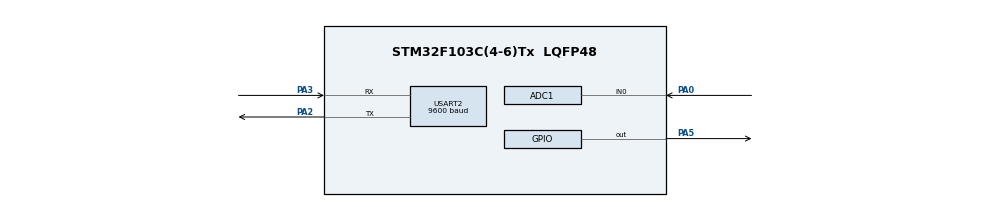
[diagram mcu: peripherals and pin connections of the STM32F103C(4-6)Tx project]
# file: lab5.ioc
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ADC1.Channel-0\#ChannelRegularConversion=ADC_CHANNEL_0
ADC1.ContinuousConvMode=ENABLE
ADC1.NbrOfConversionFlag=1
ADC1.Rank-0\#ChannelRegularConversion=1
ADC1.SamplingTime-0\#ChannelRegularConversion=ADC_SAMPLETIME_1CYCLE_5
ADC1.master=1
Mcu.Family=STM32F1
Mcu.Name=STM32F103C(4-6)Tx
Mcu.Package=LQFP48
NVIC.PriorityGroup=NVIC_PRIORITYGROUP_4
NVIC.TIM2_IRQn=true\:0\:0\:false\:false\:true\:true\:true\:true
NVIC.USART2_IRQn=true\:0\:0\:false\:false\:true\:true\:true\:true
PA0-WKUP.Signal=ADCx_IN0
PA2.Mode=Asynchronous
PA2.Signal=USART2_TX
PA3.Mode=Asynchronous
PA3.Signal=USART2_RX
PA5.Signal=GPIO_Output
ProjectManager.HeapSize=0x200
ProjectManager.StackSize=0x400
ProjectManager.TargetToolchain=STM32CubeIDE
RCC.APB1Freq_Value=8000000
RCC.APB2Freq_Value=8000000
SH.ADCx_IN0.0=ADC1_IN0,IN0
TIM2.Period=9
TIM2.Prescaler=7999
USART2.BaudRate=9600
USART2.VirtualMode=VM_ASYNC
VP_TIM2_VS_ClockSourceINT.Mode=Internal
board=custom

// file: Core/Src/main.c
/* USER CODE BEGIN Header */
/**
 ******************************************************************************
 * @file           : main.c
 * @brief          : Main program body
 ******************************************************************************
 * @attention
 *
 * Copyright (c) 2022 STMicroelectronics.
 * All rights reserved.
 *
 * This software is licensed under terms that can be found in the LICENSE file
 * in the root directory of this software component.
 * If no LICENSE file comes with this software, it is provided AS-IS.
 *
 ******************************************************************************
 */
/* USER CODE END Header */
#include "main.h"

/* USER CODE BEGIN Includes */
#include "timer.h"
#include "command_parser.h"
#include "sensor_reading.h"
#include "string.h"
#include "stdio.h"
#include "stdlib.h"
/* USER CODE END Includes */

ADC_HandleTypeDef hadc1;

TIM_HandleTypeDef htim2;

UART_HandleTypeDef huart2;

void SystemClock_Config(void);
static void MX_GPIO_Init(void);
static void MX_ADC1_Init(void);
static void MX_USART2_UART_Init(void);
static void MX_TIM2_Init(void);

/* USER CODE BEGIN 0 */
void HAL_UART_RxCpltCallback(UART_HandleTypeDef *huart) {
	if (huart->Instance == USART2) {
		HAL_UART_Transmit(&huart2, &temp, 1, 50);
		buffer[index_buffer++] = temp;
		if (index_buffer == 30)
			index_buffer = 0;
		buffer_flag = 1;
		HAL_UART_Receive_IT(&huart2, &temp, 1);
	}
}
/* USER CODE END 0 */

int main(void) {

	/* MCU Configuration--------------------------------------------------------*/

	/* Reset of all peripherals, Initializes the Flash interface and the Systick. */
	HAL_Init();

	/* Configure the system clock */
	SystemClock_Config();

	/* Initialize all configured peripherals */
	MX_GPIO_Init();
	MX_ADC1_Init();
	MX_USART2_UART_Init();
	MX_TIM2_Init();

	/* Infinite loop */
	/* USER CODE BEGIN WHILE */
	HAL_TIM_Base_Start_IT(&htim2);
	setTimer(1000);
	HAL_ADC_Start(&hadc1);
	HAL_UART_Receive_IT(&huart2, &temp, 1);
	while (1) {
		/* USER CODE END WHILE */

		/* USER CODE BEGIN 3 */
		if (buffer_flag) {
			fsm_command_parser();
			buffer_flag = 0;
		}
		fsm_sensor_reading();

	}
	/* USER CODE END 3 */
}

void SystemClock_Config(void) {
	RCC_OscInitTypeDef RCC_OscInitStruct = { 0 };
	RCC_ClkInitTypeDef RCC_ClkInitStruct = { 0 };
	RCC_PeriphCLKInitTypeDef PeriphClkInit = { 0 };

	/** Initializes the RCC Oscillators according to the specified parameters
	 * in the RCC_OscInitTypeDef structure.
	 */
	RCC_OscInitStruct.OscillatorType = RCC_OSCILLATORTYPE_HSI;
	RCC_OscInitStruct.HSIState = RCC_HSI_ON;
	RCC_OscInitStruct.HSICalibrationValue = RCC_HSICALIBRATION_DEFAULT;
	RCC_OscInitStruct.PLL.PLLState = RCC_PLL_NONE;
	if (HAL_RCC_OscConfig(&RCC_OscInitStruct) != HAL_OK) {
		Error_Handler();
	}

	/** Initializes the CPU, AHB and APB buses clocks
	 */
	RCC_ClkInitStruct.ClockType = RCC_CLOCKTYPE_HCLK | RCC_CLOCKTYPE_SYSCLK
			| RCC_CLOCKTYPE_PCLK1 | RCC_CLOCKTYPE_PCLK2;
	RCC_ClkInitStruct.SYSCLKSource = RCC_SYSCLKSOURCE_HSI;
	RCC_ClkInitStruct.AHBCLKDivider = RCC_SYSCLK_DIV1;
	RCC_ClkInitStruct.APB1CLKDivider = RCC_HCLK_DIV1;
	RCC_ClkInitStruct.APB2CLKDivider = RCC_HCLK_DIV1;

	if (HAL_RCC_ClockConfig(&RCC_ClkInitStruct, FLASH_LATENCY_0) != HAL_OK) {
		Error_Handler();
	}
	PeriphClkInit.PeriphClockSelection = RCC_PERIPHCLK_ADC;
	PeriphClkInit.AdcClockSelection = RCC_ADCPCLK2_DIV2;
	if (HAL_RCCEx_PeriphCLKConfig(&PeriphClkInit) != HAL_OK) {
		Error_Handler();
	}
}

static void MX_ADC1_Init(void) {

	ADC_ChannelConfTypeDef sConfig = { 0 };

	/** Common config
	 */
	hadc1.Instance = ADC1;
	hadc1.Init.ScanConvMode = ADC_SCAN_DISABLE;
	hadc1.Init.ContinuousConvMode = ENABLE;
	hadc1.Init.DiscontinuousConvMode = DISABLE;
	hadc1.Init.ExternalTrigConv = ADC_SOFTWARE_START;
	hadc1.Init.DataAlign = ADC_DATAALIGN_RIGHT;
	hadc1.Init.NbrOfConversion = 1;
	if (HAL_ADC_Init(&hadc1) != HAL_OK) {
		Error_Handler();
	}

	/** Configure Regular Channel
	 */
	sConfig.Channel = ADC_CHANNEL_0;
	sConfig.Rank = ADC_REGULAR_RANK_1;
	sConfig.SamplingTime = ADC_SAMPLETIME_1CYCLE_5;
	if (HAL_ADC_ConfigChannel(&hadc1, &sConfig) != HAL_OK) {
		Error_Handler();
	}

}

static void MX_TIM2_Init(void) {

	TIM_ClockConfigTypeDef sClockSourceConfig = { 0 };
	TIM_MasterConfigTypeDef sMasterConfig = { 0 };

	htim2.Instance = TIM2;
	htim2.Init.Prescaler = 7999;
	htim2.Init.CounterMode = TIM_COUNTERMODE_UP;
	htim2.Init.Period = 9;
	htim2.Init.ClockDivision = TIM_CLOCKDIVISION_DIV1;
	htim2.Init.AutoReloadPreload = TIM_AUTORELOAD_PRELOAD_DISABLE;
	if (HAL_TIM_Base_Init(&htim2) != HAL_OK) {
		Error_Handler();
	}
	sClockSourceConfig.ClockSource = TIM_CLOCKSOURCE_INTERNAL;
	if (HAL_TIM_ConfigClockSource(&htim2, &sClockSourceConfig) != HAL_OK) {
		Error_Handler();
	}
	sMasterConfig.MasterOutputTrigger = TIM_TRGO_RESET;
	sMasterConfig.MasterSlaveMode = TIM_MASTERSLAVEMODE_DISABLE;
	if (HAL_TIMEx_MasterConfigSynchronization(&htim2, &sMasterConfig)
			!= HAL_OK) {
		Error_Handler();
	}

}

static void MX_USART2_UART_Init(void) {

	huart2.Instance = USART2;
	huart2.Init.BaudRate = 9600;
	huart2.Init.WordLength = UART_WORDLENGTH_8B;
	huart2.Init.StopBits = UART_STOPBITS_1;
	huart2.Init.Parity = UART_PARITY_NONE;
	huart2.Init.Mode = UART_MODE_TX_RX;
	huart2.Init.HwFlowCtl = UART_HWCONTROL_NONE;
	huart2.Init.OverSampling = UART_OVERSAMPLING_16;
	if (HAL_UART_Init(&huart2) != HAL_OK) {
		Error_Handler();
	}

}

static void MX_GPIO_Init(void) {
	GPIO_InitTypeDef GPIO_InitStruct = { 0 };

	/* GPIO Ports Clock Enable */
	__HAL_RCC_GPIOA_CLK_ENABLE();

	/*Configure GPIO pin Output Level */
	HAL_GPIO_WritePin(GPIOA, GPIO_PIN_5, GPIO_PIN_RESET);

	/*Configure GPIO pin : PA5 */
	GPIO_InitStruct.Pin = GPIO_PIN_5;
	GPIO_InitStruct.Mode = GPIO_MODE_OUTPUT_PP;
	GPIO_InitStruct.Pull = GPIO_NOPULL;
	GPIO_InitStruct.Speed = GPIO_SPEED_FREQ_LOW;
	HAL_GPIO_Init(GPIOA, &GPIO_InitStruct);

}

/* USER CODE BEGIN 4 */
void HAL_TIM_PeriodElapsedCallback(TIM_HandleTypeDef *htim) {
	timer_run();
}

/* USER CODE END 4 */

void Error_Handler(void) {
	__disable_irq();
	while (1) {
	}
}
